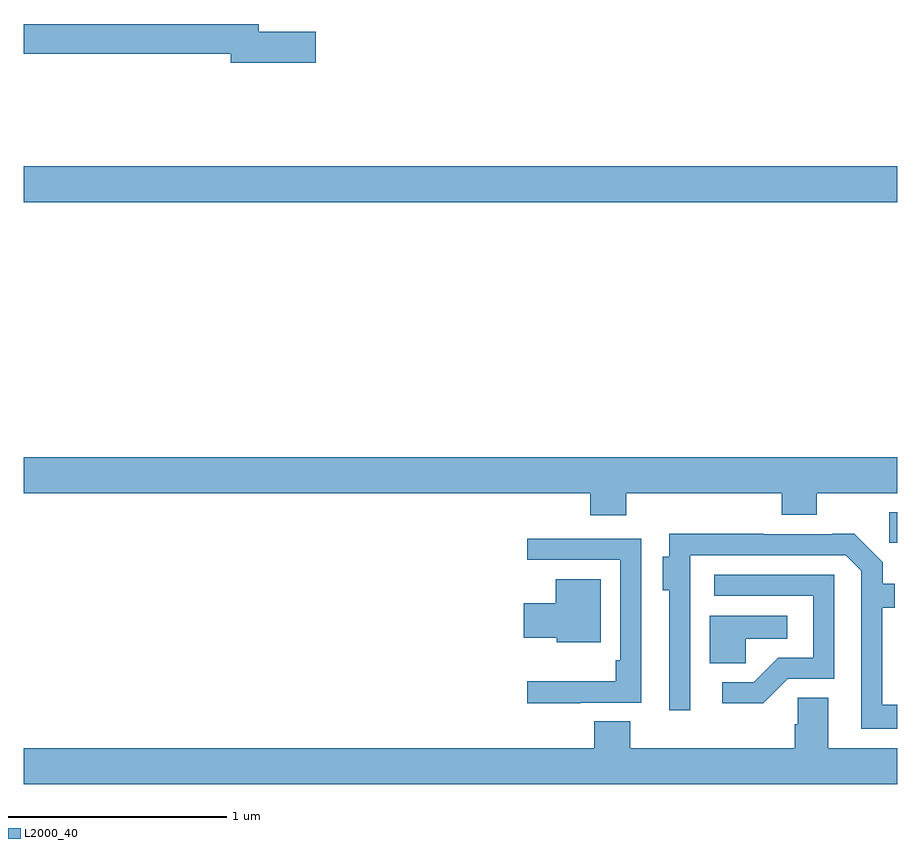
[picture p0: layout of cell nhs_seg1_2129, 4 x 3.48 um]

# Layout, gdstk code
import gdstk
lib = gdstk.Library(unit=1e-6, precision=1e-09)
def R(c, l, rs):  # rectangles x0, y0, x1, y1
    for r in rs: c.add(gdstk.rectangle(r[:2], r[2:], *l))
def P(c, l, *ps):  # polygons
    for p in ps: c.add(gdstk.Polygon(p, *l))
L2000_40 = (2000, 40)

nhs_seg1_2129 = lib.new_cell('nhs_seg1_2129')
R(nhs_seg1_2129, L2000_40, [(230.964,527.529,231,527.668), (227,529.088,231,529.252)])
P(nhs_seg1_2129, L2000_40, [(228.337,529.868),(228.076,529.868),(228.076,529.904),(227,529.904),(227,529.768),(227.948,529.768),(227.948,529.726),(228.337,529.726)],
  [(229.76,527.756),(230.471,527.756),(230.471,527.657),(230.631,527.657),(230.631,527.756),(231,527.756),(231,527.92),(227,527.92),(227,527.756),(229.595,527.756),(229.595,527.654),(229.76,527.654)],
  [(231,526.786),(230.932,526.786),(230.932,527.232),(230.989,527.232),(230.989,527.342),(230.933,527.342),(230.933,527.44),(230.803,527.57),(230.702,527.57),(230.702,527.568),(230.387,527.568),(230.387,527.57),(229.956,527.57),(229.956,527.464),(229.925,527.464),(229.925,527.312),(229.956,527.312),(229.956,526.761),(230.052,526.761),(230.052,527.472),(230.763,527.472),(230.835,527.4),(230.835,526.677),(231,526.677)],
  [(229.549,526.797),(229.827,526.797),(229.827,527.547),(229.305,527.547),(229.305,527.451),(229.731,527.451),(229.731,526.99),(229.711,526.99),(229.711,526.894),(229.305,526.894),(229.305,526.793),(229.549,526.793)],
  [(230.499,526.905),(230.712,526.905),(230.712,527.382),(230.163,527.382),(230.163,527.286),(230.616,527.286),(230.616,527.001),(230.454,527.001),(230.343,526.89),(230.199,526.89),(230.199,526.793),(230.386,526.793)],
  [(229.642,527.362),(229.436,527.362),(229.436,527.251),(229.29,527.251),(229.29,527.093),(229.44,527.093),(229.44,527.072),(229.642,527.072)],
  [(230.305,527.09),(230.497,527.09),(230.497,527.194),(230.141,527.194),(230.141,526.976),(230.305,526.976)],
  [(231,526.588),(230.683,526.588),(230.683,526.82),(230.544,526.82),(230.544,526.697),(230.531,526.697),(230.531,526.588),(229.778,526.588),(229.778,526.712),(229.613,526.712),(229.613,526.588),(227,526.588),(227,526.424),(231,526.424)])

lib.write_gds('nhs_seg1_2129.gds')
